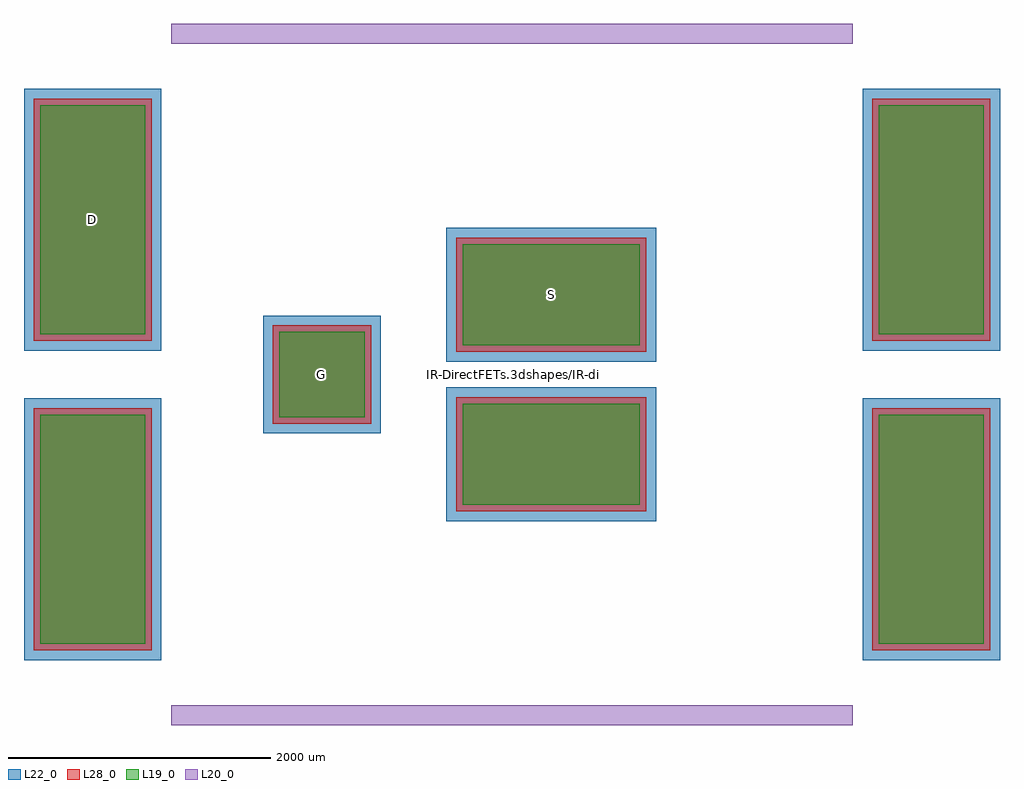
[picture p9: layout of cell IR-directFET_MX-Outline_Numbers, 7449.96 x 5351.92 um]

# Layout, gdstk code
import gdstk
lib = gdstk.Library(unit=1e-6, precision=1e-09)
def R(c, l, rs):  # rectangles x0, y0, x1, y1
    for r in rs: c.add(gdstk.rectangle(r[:2], r[2:], *l))
L19_0 = (19, 0)
L20_0 = (20, 0)
L22_0 = (22, 0)
L28_0 = (28, 0)

ir_directfet_mx_outline_ = lib.new_cell('IR-directFET_MX-Outline_Numbers')
R(ir_directfet_mx_outline_, L19_0, [(-3599.98,-2055.66,-2800.82,-306.54), (2800.82,-2055.66,3599.98,-306.54), (-375.45,-995.21,974.89,-223.99), (-1774.99,-324.65,-1125.69,324.65), (-375.45,223.99,974.89,995.21), (-3599.98,306.54,-2800.82,2055.66), (2800.82,306.54,3599.98,2055.66)])
R(ir_directfet_mx_outline_, L22_0, [(-3724.98,-2180.66,-2675.82,-181.54), (2675.82,-2180.66,3724.98,-181.54), (-500.45,-1120.21,1099.89,-98.99), (-1899.99,-449.65,-1000.69,449.65), (-500.45,98.99,1099.89,1120.21), (-3724.98,181.54,-2675.82,2180.66), (2675.82,181.54,3724.98,2180.66)])
R(ir_directfet_mx_outline_, L28_0, [(-3649.98,-2105.66,-2750.82,-256.54), (2750.82,-2105.66,3649.98,-256.54), (-425.45,-1045.21,1024.89,-173.99), (-1824.99,-374.65,-1075.69,374.65), (-425.45,173.99,1024.89,1045.21), (-3649.98,256.54,-2750.82,2105.66), (2750.82,256.54,3649.98,2105.66)])
ir_directfet_mx_outline_.add(gdstk.FlexPath([(-2600.96,2600.96),(2600.96,2600.96)], 149.998, ends="flush", simple_path=True, layer=20, datatype=0))  # L20_0
ir_directfet_mx_outline_.add(gdstk.FlexPath([(2600.96,-2600.96),(-2600.96,-2600.96)], 149.998, ends="flush", simple_path=True, layer=20, datatype=0))  # L20_0
ir_directfet_mx_outline_.add(gdstk.Label('IR-DirectFETs.3dshapes/IR-directFET_MX-Outline_Numbers.wrl', (0,0), layer=12, texttype=0))
ir_directfet_mx_outline_.add(gdstk.Label('D', (-3200.4,1181.1), layer=28, texttype=0))
ir_directfet_mx_outline_.add(gdstk.Label('S', (299.72,609.6), layer=28, texttype=0))
ir_directfet_mx_outline_.add(gdstk.Label('G', (-1450.34,0), layer=28, texttype=0))
ir_directfet_mx_outline_.add(gdstk.Label('type', (0,-4826), layer=9, texttype=0))
ir_directfet_mx_outline_.add(gdstk.Label('devicename', (30.48,4330.7), layer=9, texttype=0))

lib.write_gds('IR-directFET_MX-Outline_Numbers.gds')
